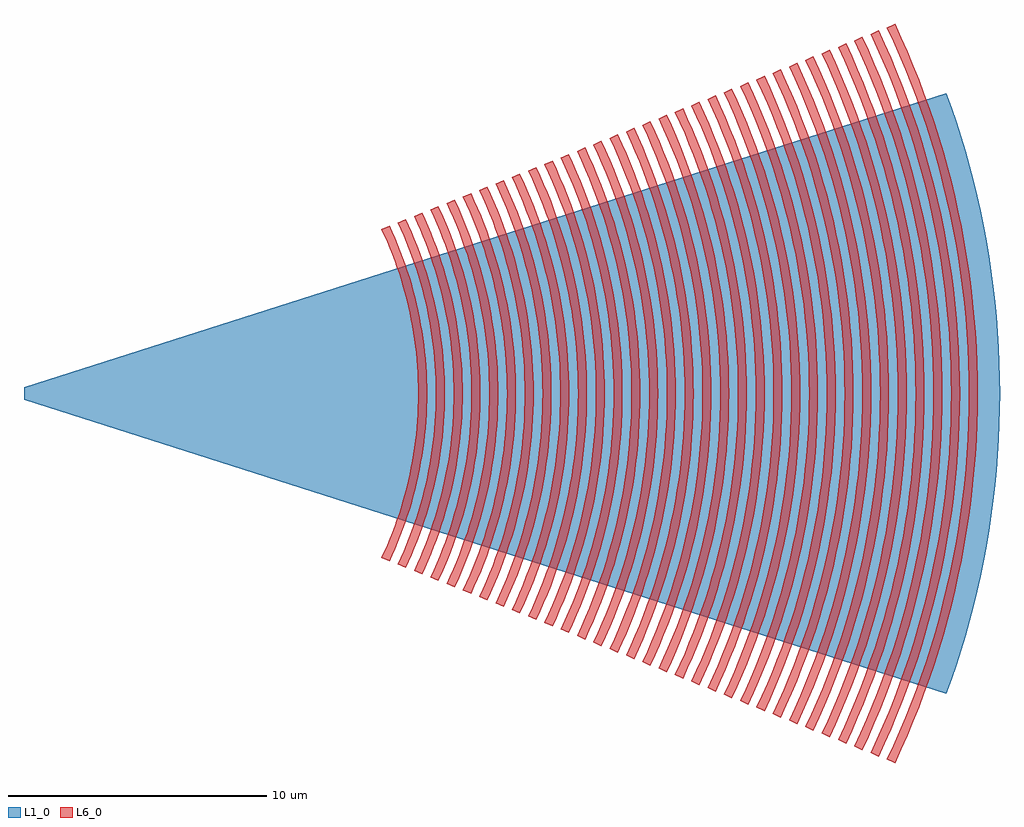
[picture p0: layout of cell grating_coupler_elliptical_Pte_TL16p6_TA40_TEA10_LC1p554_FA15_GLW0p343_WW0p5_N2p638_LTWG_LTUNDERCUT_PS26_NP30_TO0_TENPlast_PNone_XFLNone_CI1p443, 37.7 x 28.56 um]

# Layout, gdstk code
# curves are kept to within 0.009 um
import gdstk
lib = gdstk.Library(unit=1e-6, precision=1e-09)
def P(c, l, *ps):  # polygons
    for p in ps: c.add(gdstk.Polygon(p, *l))
L1_0 = (1, 0)
L6_0 = (6, 0)

grating_coupler_elliptic = lib.new_cell('grating_coupler_elliptical_Pte_TL16p6_TA40_TEA10_LC1p554_FA15_GLW0p343_WW0p5_N2p638_LTWG_LTUNDERCUT_PS26_NP30_TO0_TENPlast_PNone_XFLNone_CI1p443')
P(grating_coupler_elliptic, L1_0, [(37.733,-11.601),(2.098,-0.25),(2.098,0.25),(37.733,11.601),(38.123,10.482),(38.303,9.917),(38.632,8.779),(38.922,7.63),(39.051,7.052),(39.279,5.89),(39.466,4.721),(39.612,3.546),(39.669,2.956),(39.753,1.775),(39.795,0.592),(39.8,0),(39.795,-0.592),(39.753,-1.775),(39.669,-2.956),(39.612,-3.546),(39.466,-4.721),(39.279,-5.89),(39.17,-6.472),(38.922,-7.63),(38.632,-8.779),(38.303,-9.917),(38.123,-10.482)])
P(grating_coupler_elliptic, L6_0, [(16.217,-6.485),(15.905,-6.341),(16.222,-5.62),(16.5,-4.884),(16.738,-4.135),(16.937,-3.375),(17.047,-2.862),(17.139,-2.347),(17.242,-1.568),(17.305,-0.785),(17.325,0),(17.305,0.785),(17.242,1.568),(17.139,2.347),(17.047,2.862),(16.937,3.375),(16.738,4.135),(16.5,4.884),(16.222,5.62),(15.905,6.341),(16.217,6.485),(16.54,5.749),(16.734,5.249),(16.91,4.743),(17.14,3.972),(17.33,3.191),(17.478,2.401),(17.584,1.604),(17.647,0.803),(17.669,0),(17.647,-0.803),(17.584,-1.604),(17.478,-2.401),(17.33,-3.191),(17.14,-3.972),(16.91,-4.743),(16.734,-5.249),(16.54,-5.749)],
  [(16.847,-6.736),(16.535,-6.593),(16.864,-5.843),(17.153,-5.078),(17.401,-4.299),(17.608,-3.508),(17.772,-2.708),(17.894,-1.901),(17.952,-1.359),(17.99,-0.816),(18.012,0),(17.99,0.816),(17.952,1.359),(17.894,1.901),(17.772,2.708),(17.608,3.508),(17.401,4.299),(17.153,5.078),(16.864,5.843),(16.535,6.593),(16.847,6.736),(17.182,5.972),(17.384,5.453),(17.567,4.927),(17.806,4.126),(18.003,3.315),(18.157,2.494),(18.267,1.666),(18.333,0.834),(18.355,0),(18.333,-0.834),(18.267,-1.666),(18.157,-2.494),(18.003,-3.315),(17.806,-4.126),(17.567,-4.927),(17.384,-5.453),(17.182,-5.972)],
  [(17.477,-6.988),(17.165,-6.844),(17.507,-6.065),(17.807,-5.271),(18.064,-4.463),(18.279,-3.642),(18.449,-2.812),(18.576,-1.973),(18.658,-1.129),(18.688,-0.565),(18.698,0),(18.688,0.565),(18.658,1.129),(18.576,1.973),(18.449,2.812),(18.279,3.642),(18.064,4.463),(17.807,5.271),(17.507,6.065),(17.165,6.844),(17.477,6.988),(17.825,6.195),(18.131,5.384),(18.394,4.558),(18.613,3.72),(18.787,2.872),(18.879,2.302),(18.95,1.729),(19.018,0.866),(19.041,0),(19.018,-0.866),(18.95,-1.729),(18.879,-2.302),(18.787,-2.872),(18.613,-3.72),(18.394,-4.558),(18.131,-5.384),(17.825,-6.195)],
  [(18.106,-7.239),(17.795,-7.096),(18.149,-6.288),(18.46,-5.465),(18.727,-4.627),(18.95,-3.776),(19.127,-2.915),(19.258,-2.046),(19.32,-1.463),(19.361,-0.879),(19.384,0),(19.361,0.879),(19.32,1.463),(19.258,2.046),(19.127,2.915),(18.95,3.776),(18.727,4.627),(18.46,5.465),(18.149,6.288),(17.795,7.096),(18.106,7.239),(18.467,6.418),(18.784,5.578),(19.057,4.722),(19.284,3.854),(19.409,3.269),(19.514,2.68),(19.633,1.791),(19.704,0.897),(19.727,0),(19.704,-0.897),(19.633,-1.791),(19.514,-2.68),(19.409,-3.269),(19.284,-3.854),(19.057,-4.722),(18.784,-5.578),(18.467,-6.418)],
  [(18.736,-7.491),(18.425,-7.347),(18.792,-6.511),(19.114,-5.659),(19.303,-5.082),(19.472,-4.499),(19.687,-3.614),(19.854,-2.719),(19.974,-1.817),(20.046,-0.91),(20.07,0),(20.046,0.91),(19.974,1.817),(19.854,2.719),(19.687,3.614),(19.472,4.499),(19.303,5.082),(19.114,5.659),(18.792,6.511),(18.425,7.347),(18.736,7.491),(19.11,6.641),(19.438,5.772),(19.72,4.886),(19.955,3.988),(20.142,3.078),(20.239,2.467),(20.316,1.853),(20.389,0.928),(20.414,0),(20.389,-0.928),(20.316,-1.853),(20.239,-2.467),(20.142,-3.078),(19.955,-3.988),(19.72,-4.886),(19.438,-5.772),(19.11,-6.641)],
  [(19.366,-7.742),(19.055,-7.599),(19.434,-6.734),(19.661,-6.148),(19.868,-5.555),(20.138,-4.653),(20.36,-3.738),(20.533,-2.812),(20.657,-1.879),(20.732,-0.941),(20.757,0),(20.732,0.941),(20.657,1.879),(20.533,2.812),(20.36,3.738),(20.138,4.653),(19.868,5.555),(19.661,6.148),(19.434,6.734),(19.055,7.599),(19.366,7.742),(19.752,6.864),(19.984,6.267),(20.194,5.662),(20.469,4.742),(20.695,3.81),(20.872,2.866),(20.998,1.915),(21.074,0.959),(21.1,0),(21.074,-0.959),(20.998,-1.915),(20.872,-2.866),(20.695,-3.81),(20.469,-4.742),(20.194,-5.662),(19.984,-6.267),(19.752,-6.864)],
  [(19.996,-7.994),(19.684,-7.85),(20.077,-6.957),(20.421,-6.046),(20.716,-5.119),(20.962,-4.178),(21.158,-3.225),(21.303,-2.263),(21.371,-1.619),(21.417,-0.972),(21.443,0),(21.417,0.972),(21.371,1.619),(21.303,2.263),(21.158,3.225),(20.962,4.178),(20.716,5.119),(20.421,6.046),(20.077,6.957),(19.684,7.85),(19.996,7.994),(20.395,7.087),(20.745,6.159),(21.046,5.215),(21.296,4.256),(21.496,3.285),(21.644,2.306),(21.74,1.32),(21.774,0.66),(21.786,0),(21.774,-0.66),(21.74,-1.32),(21.644,-2.306),(21.496,-3.285),(21.296,-4.256),(21.046,-5.215),(20.745,-6.159),(20.395,-7.087)],
  [(20.626,-8.245),(20.314,-8.102),(20.719,-7.18),(21.074,-6.24),(21.379,-5.283),(21.633,-4.312),(21.835,-3.328),(21.985,-2.336),(22.055,-1.67),(22.103,-1.003),(22.129,0),(22.103,1.003),(22.055,1.67),(21.985,2.336),(21.835,3.328),(21.633,4.312),(21.379,5.283),(21.074,6.24),(20.719,7.18),(20.314,8.102),(20.626,8.245),(21.037,7.31),(21.284,6.674),(21.508,6.03),(21.801,5.05),(22.042,4.057),(22.23,3.053),(22.364,2.04),(22.445,1.021),(22.472,0),(22.445,-1.021),(22.364,-2.04),(22.23,-3.053),(22.042,-4.057),(21.801,-5.05),(21.508,-6.03),(21.284,-6.674),(21.037,-7.31)],
  [(21.256,-8.497),(20.944,-8.353),(21.362,-7.403),(21.728,-6.434),(22.042,-5.447),(22.304,-4.445),(22.512,-3.432),(22.667,-2.408),(22.767,-1.379),(22.803,-0.69),(22.815,0),(22.803,0.69),(22.767,1.379),(22.667,2.408),(22.512,3.432),(22.304,4.445),(22.042,5.447),(21.728,6.434),(21.362,7.403),(20.944,8.353),(21.256,8.497),(21.679,7.533),(22.052,6.547),(22.372,5.543),(22.555,4.865),(22.715,4.181),(22.908,3.146),(23.047,2.102),(23.131,1.052),(23.159,0),(23.131,-1.052),(23.047,-2.102),(22.908,-3.146),(22.715,-4.181),(22.555,-4.865),(22.372,-5.543),(22.052,-6.547),(21.679,-7.533)],
  [(21.886,-8.748),(21.574,-8.605),(21.867,-7.954),(22.136,-7.295),(22.381,-6.628),(22.603,-5.952),(22.891,-4.925),(23.052,-4.232),(23.189,-3.535),(23.348,-2.481),(23.423,-1.774),(23.489,-0.71),(23.502,0),(23.489,0.71),(23.423,1.774),(23.348,2.481),(23.189,3.535),(23.052,4.232),(22.891,4.925),(22.603,5.952),(22.381,6.628),(22.136,7.295),(21.867,7.954),(21.574,8.605),(21.886,8.748),(22.322,7.756),(22.705,6.74),(23.035,5.707),(23.309,4.657),(23.527,3.595),(23.689,2.523),(23.794,1.444),(23.832,0.723),(23.845,0),(23.832,-0.723),(23.794,-1.444),(23.689,-2.523),(23.527,-3.595),(23.309,-4.657),(23.035,-5.707),(22.705,-6.74),(22.322,-7.756)],
  [(22.516,-9),(22.204,-8.856),(22.647,-7.849),(22.911,-7.166),(23.152,-6.475),(23.368,-5.775),(23.559,-5.069),(23.725,-4.356),(23.866,-3.638),(23.982,-2.916),(24.107,-1.826),(24.159,-1.097),(24.188,0),(24.159,1.097),(24.107,1.826),(23.982,2.916),(23.866,3.638),(23.725,4.356),(23.559,5.069),(23.368,5.775),(23.152,6.475),(22.911,7.166),(22.647,7.849),(22.204,8.856),(22.516,9),(22.964,7.978),(23.359,6.934),(23.698,5.871),(23.98,4.791),(24.204,3.698),(24.371,2.596),(24.449,1.856),(24.502,1.115),(24.531,0),(24.502,-1.115),(24.449,-1.856),(24.371,-2.596),(24.204,-3.698),(23.98,-4.791),(23.698,-5.871),(23.359,-6.934),(22.964,-7.978)],
  [(23.146,-9.251),(22.834,-9.108),(23.289,-8.072),(23.561,-7.37),(23.809,-6.658),(24.031,-5.939),(24.227,-5.213),(24.398,-4.48),(24.543,-3.742),(24.712,-2.626),(24.791,-1.878),(24.861,-0.752),(24.874,0),(24.861,0.752),(24.791,1.878),(24.712,2.626),(24.543,3.742),(24.398,4.48),(24.227,5.213),(24.031,5.939),(23.809,6.658),(23.561,7.37),(23.289,8.072),(22.834,9.108),(23.146,9.251),(23.607,8.201),(23.884,7.488),(24.135,6.765),(24.464,5.666),(24.734,4.552),(24.945,3.425),(25.096,2.289),(25.187,1.146),(25.217,0),(25.187,-1.146),(25.096,-2.289),(24.945,-3.425),(24.734,-4.552),(24.464,-5.666),(24.135,-6.765),(23.884,-7.488),(23.607,-8.201)],
  [(23.776,-9.503),(23.464,-9.359),(23.932,-8.295),(24.211,-7.573),(24.466,-6.842),(24.694,-6.103),(24.896,-5.357),(25.149,-4.225),(25.343,-3.082),(25.438,-2.314),(25.53,-1.159),(25.56,0),(25.53,1.159),(25.438,2.314),(25.343,3.082),(25.149,4.225),(24.896,5.357),(24.694,6.103),(24.466,6.842),(24.211,7.573),(23.932,8.295),(23.464,9.359),(23.776,9.503),(24.249,8.424),(24.666,7.322),(25.023,6.199),(25.229,5.44),(25.407,4.676),(25.624,3.518),(25.779,2.351),(25.872,1.177),(25.904,0),(25.872,-1.177),(25.779,-2.351),(25.624,-3.518),(25.407,-4.676),(25.229,-5.44),(25.023,-6.199),(24.666,-7.322),(24.249,-8.424)],
  [(24.406,-9.754),(24.094,-9.611),(24.421,-8.884),(24.721,-8.148),(24.995,-7.403),(25.243,-6.648),(25.464,-5.885),(25.658,-5.115),(25.898,-3.948),(26.023,-3.164),(26.159,-1.982),(26.233,-0.794),(26.246,0),(26.233,0.794),(26.159,1.982),(26.023,3.164),(25.898,3.948),(25.658,5.115),(25.464,5.885),(25.243,6.648),(24.995,7.403),(24.721,8.148),(24.421,8.884),(24.094,9.611),(24.406,9.754),(24.892,8.647),(25.319,7.515),(25.686,6.363),(25.992,5.193),(26.235,4.008),(26.416,2.813),(26.501,2.012),(26.558,1.208),(26.59,0),(26.558,-1.208),(26.501,-2.012),(26.416,-2.813),(26.235,-4.008),(25.992,-5.193),(25.686,-6.363),(25.319,-7.515),(24.892,-8.647)],
  [(25.036,-10.006),(24.724,-9.862),(25.059,-9.117),(25.367,-8.362),(25.779,-7.21),(26.13,-6.039),(26.329,-5.249),(26.5,-4.452),(26.643,-3.65),(26.804,-2.439),(26.9,-1.221),(26.933,0),(26.9,1.221),(26.804,2.439),(26.643,3.65),(26.5,4.452),(26.233,5.645),(26.02,6.431),(25.779,7.21),(25.367,8.362),(25.059,9.117),(24.724,9.862),(25.036,10.006),(25.534,8.87),(25.973,7.709),(26.349,6.527),(26.663,5.327),(26.913,4.112),(27.098,2.886),(27.218,1.652),(27.261,0.826),(27.276,0),(27.261,-0.826),(27.218,-1.652),(27.098,-2.886),(26.913,-4.112),(26.663,-5.327),(26.349,-6.527),(25.973,-7.709),(25.534,-8.87)],
  [(25.665,-10.257),(25.354,-10.114),(25.697,-9.349),(26.014,-8.575),(26.436,-7.394),(26.683,-6.595),(26.901,-5.789),(27.175,-4.566),(27.384,-3.33),(27.487,-2.501),(27.586,-1.252),(27.619,0),(27.586,1.252),(27.487,2.501),(27.384,3.33),(27.175,4.566),(26.901,5.789),(26.683,6.595),(26.436,7.394),(26.014,8.575),(25.697,9.349),(25.354,10.114),(25.665,10.257),(26.177,9.093),(26.626,7.903),(27.012,6.691),(27.334,5.46),(27.59,4.215),(27.724,3.378),(27.828,2.537),(27.929,1.27),(27.962,0),(27.929,-1.27),(27.828,-2.537),(27.724,-3.378),(27.59,-4.215),(27.334,-5.46),(27.012,-6.691),(26.626,-7.903),(26.177,-9.093)],
  [(26.295,-10.509),(25.984,-10.365),(26.336,-9.582),(26.66,-8.788),(27.093,-7.578),(27.461,-6.347),(27.67,-5.516),(27.85,-4.679),(28.064,-3.413),(28.17,-2.563),(28.271,-1.283),(28.305,0),(28.271,1.283),(28.17,2.563),(28.064,3.413),(27.85,4.679),(27.67,5.516),(27.461,6.347),(27.093,7.578),(26.66,8.788),(26.336,9.582),(25.984,10.365),(26.295,10.509),(26.819,9.316),(27.28,8.097),(27.675,6.855),(28.005,5.594),(28.267,4.318),(28.404,3.461),(28.511,2.6),(28.614,1.302),(28.648,0),(28.614,-1.302),(28.511,-2.6),(28.404,-3.461),(28.267,-4.318),(28.005,-5.594),(27.675,-6.855),(27.28,-8.097),(26.819,-9.316)],
  [(26.925,-10.76),(26.614,-10.617),(27.144,-9.409),(27.461,-8.591),(27.75,-7.762),(28.009,-6.923),(28.238,-6.076),(28.525,-4.793),(28.745,-3.496),(28.895,-2.189),(28.957,-1.315),(28.991,0),(28.957,1.315),(28.895,2.189),(28.745,3.496),(28.525,4.793),(28.238,6.076),(28.009,6.923),(27.75,7.762),(27.461,8.591),(27.144,9.409),(26.614,10.617),(26.925,10.76),(27.462,9.539),(27.783,8.709),(28.076,7.869),(28.458,6.591),(28.773,5.294),(29.018,3.983),(29.194,2.662),(29.299,1.333),(29.335,0),(29.299,-1.333),(29.194,-2.662),(29.018,-3.983),(28.773,-5.294),(28.458,-6.591),(28.076,-7.869),(27.783,-8.709),(27.462,-9.539)],
  [(27.555,-11.012),(27.243,-10.868),(27.613,-10.047),(27.952,-9.215),(28.406,-7.946),(28.793,-6.655),(29.012,-5.784),(29.2,-4.906),(29.425,-3.578),(29.579,-2.241),(29.662,-0.897),(29.678,0),(29.662,0.897),(29.579,2.241),(29.425,3.578),(29.2,4.906),(29.012,5.784),(28.793,6.655),(28.406,7.946),(27.952,9.215),(27.613,10.047),(27.243,10.868),(27.555,11.012),(27.928,10.182),(28.273,9.339),(28.733,8.053),(29.124,6.745),(29.446,5.418),(29.697,4.077),(29.877,2.724),(29.985,1.364),(30.021,0),(29.985,-1.364),(29.877,-2.724),(29.697,-4.077),(29.446,-5.418),(29.124,-6.745),(28.733,-8.053),(28.273,-9.339),(27.928,-10.182)],
  [(28.185,-11.263),(27.873,-11.12),(28.251,-10.279),(28.599,-9.428),(29.063,-8.13),(29.334,-7.251),(29.575,-6.364),(29.876,-5.02),(30.105,-3.661),(30.263,-2.293),(30.348,-0.918),(30.364,0),(30.348,0.918),(30.263,2.293),(30.105,3.661),(29.876,5.02),(29.575,6.364),(29.334,7.251),(29.063,8.13),(28.599,9.428),(28.251,10.279),(27.873,11.12),(28.185,11.263),(28.747,9.985),(29.24,8.678),(29.531,7.793),(29.79,6.899),(30.119,5.542),(30.376,4.17),(30.56,2.786),(30.67,1.395),(30.707,0),(30.67,-1.395),(30.56,-2.786),(30.376,-4.17),(30.119,-5.542),(29.79,-6.899),(29.531,-7.793),(29.24,-8.678),(28.747,-9.985)],
  [(28.815,-11.515),(28.503,-11.371),(28.89,-10.512),(29.245,-9.641),(29.72,-8.313),(29.997,-7.415),(30.243,-6.508),(30.551,-5.133),(30.786,-3.744),(30.947,-2.345),(31.034,-0.939),(31.05,0),(31.034,0.939),(30.947,2.345),(30.786,3.744),(30.551,5.133),(30.243,6.508),(29.997,7.415),(29.72,8.313),(29.245,9.641),(28.89,10.512),(28.503,11.371),(28.815,11.515),(29.389,10.208),(29.894,8.871),(30.327,7.511),(30.688,6.13),(30.888,5.199),(31.055,4.263),(31.243,2.848),(31.356,1.426),(31.393,0),(31.356,-1.426),(31.243,-2.848),(31.055,-4.263),(30.888,-5.199),(30.688,-6.13),(30.327,-7.511),(29.894,-8.871),(29.389,-10.208)],
  [(29.445,-11.766),(29.133,-11.623),(29.714,-10.301),(30.061,-9.405),(30.377,-8.497),(30.79,-7.117),(31.024,-6.186),(31.226,-5.247),(31.466,-3.827),(31.631,-2.397),(31.719,-0.96),(31.736,0),(31.719,0.96),(31.631,2.397),(31.466,3.827),(31.226,5.247),(31.024,6.186),(30.79,7.117),(30.377,8.497),(30.061,9.405),(29.714,10.301),(29.133,11.623),(29.445,11.766),(30.032,10.431),(30.547,9.065),(30.851,8.141),(30.99,7.675),(31.359,6.264),(31.652,4.835),(31.806,3.875),(31.926,2.911),(32.041,1.457),(32.063,0.972),(32.08,0),(32.063,-0.972),(32.041,-1.457),(31.926,-2.911),(31.733,-4.356),(31.563,-5.313),(31.359,-6.264),(30.99,-7.675),(30.851,-8.141),(30.547,-9.065),(30.032,-10.431)],
  [(30.075,-12.018),(29.763,-11.874),(30.167,-10.977),(30.538,-10.068),(31.034,-8.681),(31.456,-7.271),(31.695,-6.32),(31.901,-5.36),(32.146,-3.91),(32.315,-2.448),(32.384,-1.47),(32.423,0),(32.384,1.47),(32.315,2.448),(32.146,3.91),(31.901,5.36),(31.695,6.32),(31.456,7.271),(31.034,8.681),(30.538,10.068),(30.167,10.977),(29.763,11.874),(30.075,12.018),(30.674,10.654),(31.201,9.259),(31.511,8.315),(31.653,7.839),(32.03,6.397),(32.238,5.427),(32.329,4.938),(32.552,3.466),(32.657,2.479),(32.727,1.488),(32.766,0),(32.727,-1.488),(32.657,-2.479),(32.552,-3.466),(32.329,-4.938),(32.238,-5.427),(32.03,-6.397),(31.653,-7.839),(31.511,-8.315),(31.201,-9.259),(30.674,-10.654)],
  [(30.705,-12.269),(30.393,-12.126),(30.999,-10.747),(31.361,-9.812),(31.69,-8.865),(31.986,-7.907),(32.248,-6.94),(32.476,-5.965),(32.576,-5.474),(32.669,-4.982),(32.827,-3.993),(32.999,-2.5),(33.069,-1.501),(33.109,0),(33.091,1.001),(32.999,2.5),(32.827,3.993),(32.669,4.982),(32.576,5.474),(32.476,5.965),(32.248,6.94),(31.986,7.907),(31.69,8.865),(31.361,9.812),(30.999,10.747),(30.393,12.126),(30.705,12.269),(31.121,11.345),(31.504,10.405),(32.017,8.972),(32.171,8.489),(32.453,7.515),(32.811,6.037),(33.007,5.042),(33.091,4.542),(33.167,4.041),(33.291,3.035),(33.341,2.531),(33.412,1.52),(33.448,0.507),(33.452,0),(33.448,-0.507),(33.412,-1.52),(33.341,-2.531),(33.291,-3.035),(33.167,-4.041),(33.091,-4.542),(33.007,-5.042),(32.811,-6.037),(32.453,-7.515),(32.171,-8.489),(32.017,-8.972),(31.504,-10.405),(31.121,-11.345)],
  [(31.335,-12.521),(31.023,-12.377),(31.238,-11.911),(31.641,-10.97),(32.011,-10.015),(32.347,-9.049),(32.503,-8.562),(32.787,-7.579),(33.037,-6.587),(33.252,-5.587),(33.346,-5.085),(33.507,-4.075),(33.575,-3.569),(33.683,-2.552),(33.755,-1.533),(33.791,-0.511),(33.795,0),(33.791,0.511),(33.755,1.533),(33.683,2.552),(33.575,3.569),(33.507,4.075),(33.431,4.581),(33.252,5.587),(33.037,6.587),(32.787,7.579),(32.503,8.562),(32.347,9.049),(32.011,10.015),(31.641,10.97),(31.444,11.442),(31.023,12.377),(31.335,12.521),(31.959,11.099),(32.508,9.646),(32.831,8.663),(32.979,8.167),(33.371,6.665),(33.684,5.145),(33.847,4.124),(33.915,3.611),(34.024,2.582),(34.097,1.551),(34.134,0.517),(34.138,0),(34.134,-0.517),(34.097,-1.551),(34.024,-2.582),(33.915,-3.611),(33.847,-4.124),(33.684,-5.145),(33.371,-6.665),(32.979,-8.167),(32.831,-8.663),(32.508,-9.646),(31.959,-11.099)],
  [(31.965,-12.772),(31.653,-12.628),(31.872,-12.153),(32.284,-11.193),(32.661,-10.219),(33.004,-9.233),(33.312,-8.236),(33.585,-7.228),(33.708,-6.721),(33.927,-5.701),(34.11,-4.674),(34.188,-4.158),(34.316,-3.123),(34.408,-2.084),(34.44,-1.564),(34.477,-0.521),(34.481,0),(34.477,0.521),(34.44,1.564),(34.408,2.084),(34.316,3.123),(34.188,4.158),(34.11,4.674),(33.927,5.701),(33.822,6.212),(33.585,7.228),(33.312,8.236),(33.004,9.233),(32.661,10.219),(32.284,11.193),(31.872,12.153),(31.653,12.628),(31.965,12.772),(32.397,11.81),(32.601,11.322),(32.797,10.831),(33.161,9.84),(33.33,9.34),(33.642,8.331),(33.918,7.312),(34.042,6.799),(34.264,5.767),(34.361,5.248),(34.449,4.728),(34.597,3.683),(34.708,2.634),(34.783,1.582),(34.806,1.055),(34.825,0),(34.806,-1.055),(34.783,-1.582),(34.708,-2.634),(34.597,-3.683),(34.449,-4.728),(34.361,-5.248),(34.264,-5.767),(34.042,-6.799),(33.918,-7.312),(33.642,-8.331),(33.33,-9.34),(33.161,-9.84),(32.797,-10.831),(32.601,-11.322),(32.397,-11.81)],
  [(32.595,-13.024),(32.283,-12.88),(32.72,-11.907),(33.123,-10.921),(33.661,-9.417),(33.975,-8.4),(34.119,-7.887),(34.379,-6.855),(34.602,-5.815),(34.789,-4.767),(34.938,-3.714),(34.999,-3.185),(35.093,-2.126),(35.125,-1.595),(35.149,-1.063),(35.168,0),(35.149,1.063),(35.125,1.595),(35.093,2.126),(34.999,3.185),(34.938,3.714),(34.789,4.767),(34.602,5.815),(34.379,6.855),(34.119,7.887),(33.975,8.4),(33.661,9.417),(33.123,10.921),(32.72,11.907),(32.283,12.88),(32.595,13.024),(33.036,12.042),(33.244,11.545),(33.443,11.045),(33.815,10.034),(33.987,9.524),(34.305,8.495),(34.45,7.977),(34.713,6.933),(34.939,5.881),(35.038,5.352),(35.128,4.821),(35.279,3.756),(35.34,3.222),(35.435,2.15),(35.492,1.076),(35.511,0),(35.492,-1.076),(35.435,-2.15),(35.34,-3.222),(35.279,-3.756),(35.128,-4.821),(35.038,-5.352),(34.939,-5.881),(34.713,-6.933),(34.45,-7.977),(34.305,-8.495),(33.987,-9.524),(33.815,-10.034),(33.443,-11.045),(33.244,-11.545),(33.036,-12.042)],
  [(33.224,-13.275),(32.913,-13.131),(33.359,-12.139),(33.569,-11.638),(33.961,-10.626),(34.318,-9.601),(34.638,-8.564),(34.922,-7.516),(35.168,-6.459),(35.277,-5.928),(35.467,-4.86),(35.62,-3.786),(35.682,-3.248),(35.734,-2.708),(35.811,-1.626),(35.835,-1.084),(35.854,0),(35.835,1.084),(35.811,1.626),(35.734,2.708),(35.682,3.248),(35.548,4.324),(35.377,5.395),(35.277,5.928),(35.168,6.459),(34.922,7.516),(34.638,8.564),(34.318,9.601),(33.961,10.626),(33.569,11.638),(33.359,12.139),(32.913,13.131),(33.224,13.275),(33.454,12.777),(33.886,11.768),(34.283,10.744),(34.644,9.708),(34.968,8.659),(35.116,8.131),(35.384,7.067),(35.504,6.532),(35.715,5.455),(35.806,4.914),(35.961,3.829),(36.023,3.284),(36.12,2.191),(36.154,1.644),(36.178,1.096),(36.197,0),(36.178,-1.096),(36.154,-1.644),(36.12,-2.191),(36.023,-3.284),(35.961,-3.829),(35.806,-4.914),(35.715,-5.455),(35.504,-6.532),(35.384,-7.067),(35.116,-8.131),(34.968,-8.659),(34.644,-9.708),(34.283,-10.744),(33.886,-11.768),(33.454,-12.777)],
  [(33.854,-13.526),(33.543,-13.383),(33.997,-12.372),(34.416,-11.347),(34.611,-10.83),(34.975,-9.785),(35.301,-8.728),(35.59,-7.66),(35.841,-6.583),(35.952,-6.042),(36.054,-5.498),(36.229,-4.407),(36.365,-3.31),(36.462,-2.209),(36.496,-1.657),(36.521,-1.105),(36.54,0),(36.521,1.105),(36.496,1.657),(36.462,2.209),(36.365,3.31),(36.229,4.407),(36.054,5.498),(35.952,6.042),(35.841,6.583),(35.59,7.66),(35.301,8.728),(34.975,9.785),(34.611,10.83),(34.416,11.347),(33.997,12.372),(33.543,13.383),(33.854,13.526),(34.088,13.02),(34.529,11.991),(34.736,11.471),(35.122,10.421),(35.301,9.892),(35.631,8.823),(35.923,7.744),(36.055,7.201),(36.177,6.655),(36.392,5.558),(36.569,4.455),(36.706,3.346),(36.805,2.233),(36.839,1.675),(36.864,1.117),(36.883,0),(36.864,-1.117),(36.839,-1.675),(36.805,-2.233),(36.706,-3.346),(36.569,-4.455),(36.392,-5.558),(36.177,-6.655),(36.055,-7.201),(35.923,-7.744),(35.631,-8.823),(35.301,-9.892),(35.122,-10.421),(34.736,-11.471),(34.529,-11.991),(34.088,-13.02)],
  [(34.484,-13.778),(34.173,-13.634),(34.636,-12.604),(35.062,-11.56),(35.451,-10.502),(35.631,-9.968),(35.964,-8.892),(36.116,-8.349),(36.391,-7.257),(36.628,-6.155),(36.825,-5.046),(36.909,-4.489),(37.048,-3.372),(37.147,-2.25),(37.182,-1.688),(37.221,-0.563),(37.226,0),(37.221,0.563),(37.182,1.688),(37.147,2.25),(37.048,3.372),(36.909,4.489),(36.825,5.046),(36.628,6.155),(36.391,7.257),(36.116,8.349),(35.964,8.892),(35.631,9.968),(35.451,10.502),(35.062,11.56),(34.636,12.604),(34.173,13.634),(34.484,13.778),(34.951,12.74),(35.382,11.685),(35.583,11.152),(35.958,10.075),(36.294,8.987),(36.447,8.439),(36.591,7.888),(36.85,6.779),(37.069,5.662),(37.164,5.101),(37.324,3.974),(37.389,3.408),(37.444,2.842),(37.524,1.706),(37.565,0.569),(37.57,0),(37.565,-0.569),(37.524,-1.706),(37.444,-2.842),(37.389,-3.408),(37.324,-3.974),(37.164,-5.101),(37.069,-5.662),(36.85,-6.779),(36.591,-7.888),(36.447,-8.439),(36.294,-8.987),(35.958,-10.075),(35.583,-11.152),(35.382,-11.685),(34.951,-12.74)],
  [(35.114,-14.029),(34.802,-13.886),(35.043,-13.363),(35.496,-12.307),(35.911,-11.237),(36.288,-10.152),(36.627,-9.056),(36.782,-8.503),(37.062,-7.39),(37.303,-6.269),(37.504,-5.139),(37.59,-4.572),(37.731,-3.434),(37.832,-2.292),(37.867,-1.719),(37.892,-1.147),(37.913,0),(37.892,1.147),(37.867,1.719),(37.832,2.292),(37.731,3.434),(37.59,4.572),(37.504,5.139),(37.303,6.269),(37.062,7.39),(36.782,8.503),(36.627,9.056),(36.288,10.152),(35.911,11.237),(35.496,12.307),(35.043,13.363),(34.802,13.886),(35.114,14.029),(35.59,12.972),(35.814,12.437),(36.028,11.898),(36.429,10.809),(36.79,9.707),(36.957,9.151),(37.26,8.032),(37.523,6.903),(37.64,6.335),(37.843,5.194),(38.006,4.046),(38.072,3.47),(38.128,2.894),(38.21,1.738),(38.251,0.579),(38.256,0),(38.251,-0.579),(38.21,-1.738),(38.128,-2.894),(38.072,-3.47),(38.006,-4.046),(37.843,-5.194),(37.64,-6.335),(37.523,-6.903),(37.26,-8.032),(36.957,-9.151),(36.79,-9.707),(36.429,-10.809),(36.028,-11.898),(35.814,-12.437),(35.59,-12.972)],
  [(35.744,-14.281),(35.432,-14.137),(35.678,-13.605),(36.138,-12.53),(36.561,-11.44),(36.945,-10.336),(37.29,-9.22),(37.595,-8.092),(37.733,-7.524),(37.978,-6.382),(38.183,-5.232),(38.27,-4.655),(38.414,-3.496),(38.47,-2.915),(38.552,-1.751),(38.594,-0.584),(38.599,0),(38.594,0.584),(38.552,1.751),(38.47,2.915),(38.414,3.496),(38.27,4.655),(38.183,5.232),(37.978,6.382),(37.733,7.524),(37.595,8.092),(37.29,9.22),(36.945,10.336),(36.561,11.44),(36.138,12.53),(35.678,13.605),(35.432,14.137),(35.744,14.281),(35.991,13.746),(36.456,12.66),(36.675,12.111),(37.082,11.003),(37.271,10.443),(37.62,9.315),(37.928,8.176),(38.196,7.026),(38.315,6.448),(38.522,5.287),(38.688,4.119),(38.755,3.533),(38.859,2.357),(38.895,1.769),(38.937,0.59),(38.942,0),(38.937,-0.59),(38.895,-1.769),(38.859,-2.357),(38.755,-3.533),(38.688,-4.119),(38.522,-5.287),(38.315,-6.448),(38.196,-7.026),(37.928,-8.176),(37.62,-9.315),(37.271,-10.443),(37.082,-11.003),(36.675,-12.111),(36.456,-12.66),(35.991,-13.746)])

lib.write_gds('grating_coupler_elliptical_Pte_TL16p6_TA40_TEA10_LC1p554_FA15_GLW0p343_WW0p5_N2p638_LTWG_LTUNDERCUT_PS26_NP30_TO0_TENPlast_PNone_XFLNone_CI1p443.gds')
